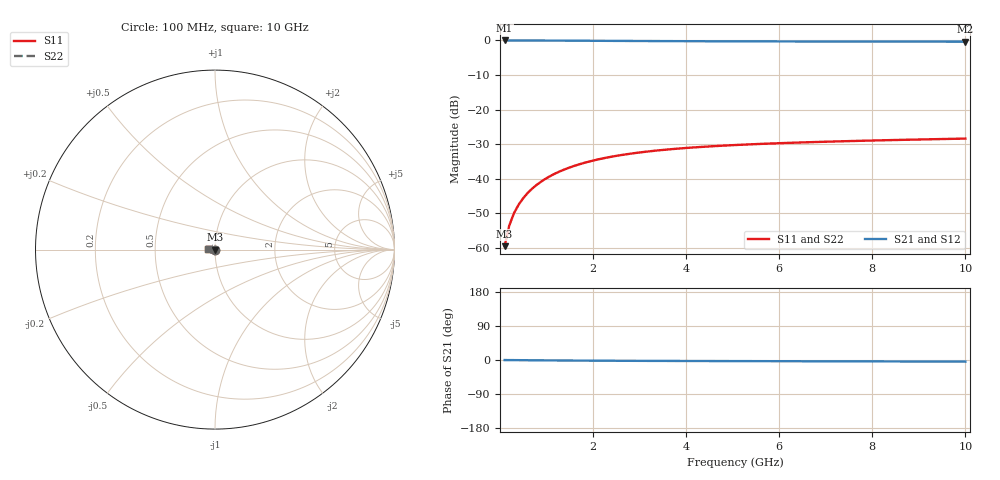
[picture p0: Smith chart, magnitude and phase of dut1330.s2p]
! Touchstone file exported from HFSS 2024.1.0
!  File:  C:/UserFiles/LocalFiles/RDL_TSV_Batchsim/temp_TSV1_1330_1780375371.aedt
!  Generated:  12:50:08 PM Jun  2, 2026
!  Design:  TSV1
!  Project:  temp_TSV1_1330_1780375371
!  Setup:  Setup1
!  Solution:  Sweep
! Variables:
!  dtsv = 11.28um
!  hbump = 3um
!  htsv = 63.01um
!  lrdl = 252.1521522um
!  p = 40
!  p1 = 54.82um
!  t = 500um
!  trdl = 3um
!  wrdl = 24.89489489um
# GHz S MA R 50.000000
! Terminal data exported
! Port[1] = TSV22_T1
! Port[2] = TSV22_T2
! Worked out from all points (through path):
!   100 points, 100 MHz to 10 GHz, reference 50 ohm
!   highest |S21| = 0.00 dB at 100 MHz (marker M1); lowest = -0.3 dB at 10 GHz (marker M2)
!   lowest |S11| = -59.6 dB at 100 MHz (marker M3), VSWR 1.00, Z = 50 - j0.105 ohm
!   |S11| at or under -10 dB: start of sweep to end of sweep
!   |S22| runs from -59.6 to -28.4 dB; largest |S21 - S12| = 5.8e-15
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0.1  0.001052 -86.6  0.9999 -0.1  0.9999 -0.1  0.001052 -86.6
! Gamma 0 0 0 0
! Port Impedance 50 0 50 0
0.2  0.002097 -91.1  0.9997 -0.2  0.9997 -0.2  0.002097 -91.1
0.3  0.003143 -93.8  0.9995 -0.3  0.9995 -0.3  0.003143 -93.8
0.4  0.004184 -96.2  0.9993 -0.4  0.9993 -0.4  0.004184 -96.2
0.5  0.005216 -98.4  0.999 -0.5  0.999 -0.5  0.005216 -98.4
0.6  0.006235 -100.5  0.9986 -0.6  0.9986 -0.6  0.006235 -100.5
0.7  0.00724 -102.5  0.9981 -0.7  0.9981 -0.7  0.00724 -102.5
0.8  0.008227 -104.5  0.9976 -0.8  0.9976 -0.8  0.008227 -104.5
0.9  0.009194 -106.5  0.9971 -0.9  0.9971 -0.9  0.009194 -106.5
1.1  0.01106 -110.2  0.9958 -1.1  0.9958 -1.1  0.01106 -110.2
1.4  0.01369 -115.6  0.9938 -1.3  0.9938 -1.3  0.01369 -115.6
1.6  0.01531 -119.0  0.9923 -1.5  0.9923 -1.5  0.01531 -119.0
1.8  0.01683 -122.2  0.9907 -1.6  0.9907 -1.6  0.01683 -122.2
2.1  0.01891 -126.8  0.9884 -1.8  0.9884 -1.8  0.01891 -126.8
2.5  0.02134 -132.5  0.9853 -2.0  0.9853 -2.0  0.02134 -132.5
2.9  0.02342 -137.6  0.9824 -2.2  0.9824 -2.2  0.02342 -137.6
3.4  0.02561 -143.3  0.9791 -2.4  0.9791 -2.4  0.02561 -143.3
4.2  0.02838 -151.3  0.9747 -2.7  0.9747 -2.7  0.02838 -151.3
5.1  0.03072 -158.7  0.9708 -2.9  0.9708 -2.9  0.03072 -158.7
6.7  0.03373 -169.5  0.966 -3.4  0.966 -3.4  0.03373 -169.5
8.4  0.03609 -178.6  0.9627 -3.8  0.9627 -3.8  0.03609 -178.6
10  0.03796 174.2  0.9606 -4.2  0.9606 -4.2  0.03796 174.2
